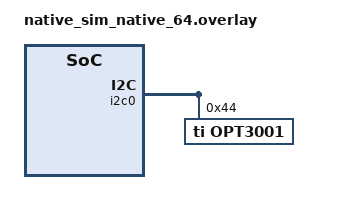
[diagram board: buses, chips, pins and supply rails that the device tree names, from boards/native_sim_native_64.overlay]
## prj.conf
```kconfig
# CONFIG_ZTEST=y
# CONFIG_SENSOR=y
# CONFIG_OPT3001=y

# CONFIG_EMUL=y
# CONFIG_I2C=y
# CONFIG_I2C_EMUL=y

# CONFIG_NATIVE_SIM=y
# CONFIG_NATIVE_SIM_SLOWDOWN=1
CONFIG_ZTEST=y
CONFIG_SENSOR=y
CONFIG_I2C=y
CONFIG_I2C_EMUL=y
CONFIG_OPT3001=y
CONFIG_OPT3001_EMUL=y
# CONFIG_NATIVE_SIM=y
```

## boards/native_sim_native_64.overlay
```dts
/* 
 * SPDX-License-Identifier: Apache-2.0
 */

/* {
	aliases {
		accel = &bmi_i2c;
	};
};

&i2c0 {
	   bmi_i2c: opt3001@44 {
		compatible = "ti,opt3001";
		reg = <0x44>;
	};
}; */

/* Attach OPT3001 to the existing native_sim I2C emulation controller */

&i2c0 {
    opt3001@44 {
        compatible = "ti,opt3001";
        reg = <0x44>;
    };
};
```

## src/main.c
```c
#include <zephyr/ztest.h>
#include <zephyr/device.h>
#include <zephyr/drivers/sensor.h>
#include <zephyr/drivers/i2c.h>
#include <zephyr/drivers/i2c_emul.h>
#include <zephyr/drivers/emul.h>
#include <zephyr/devicetree.h>
#include <zephyr/sys/printk.h>

#if !DT_NODE_HAS_STATUS(DT_INST(0, ti_opt3001), okay)
#error "OPT3001 not enabled in devicetree"
#endif

#define OPT3001_NODE DT_INST(0, ti_opt3001)
#define OPT3001_I2C_BUS DT_PARENT(OPT3001_NODE)
#define OPT3001_I2C_ADDR DT_REG_ADDR(OPT3001_NODE)

#define OPT3001_REG_RESULT  0x00
#define OPT3001_REG_CONFIG  0x01

/* ===================== Emulator private data ===================== */

struct opt3001_emul {
	const struct emul emul;
	uint16_t result_reg;
	uint16_t config_reg;
	uint8_t current_reg;
	bool fail_i2c;
};

/* ===================== I2C transfer handler ===================== */

static int opt3001_emul_transfer(
	const struct emul *emul,
	struct i2c_msg *msgs,
	int num_msgs,
	int addr)
{
	struct opt3001_emul *data = emul->data;

	if (data->fail_i2c) {
		return -EIO;
	}

	/* Write: register address */
	if (num_msgs == 1 && !(msgs[0].flags & I2C_MSG_READ)) {
		data->current_reg = msgs[0].buf[0];
		return 0;
	}

	/* Write register + Read data */
	if (num_msgs == 2 &&
	    !(msgs[0].flags & I2C_MSG_READ) &&
	    (msgs[1].flags & I2C_MSG_READ)) {

		uint16_t val = 0;

		data->current_reg = msgs[0].buf[0];

		if (data->current_reg == OPT3001_REG_RESULT) {
			val = data->result_reg;
		} else if (data->current_reg == OPT3001_REG_CONFIG) {
			val = data->config_reg;
		}

		if (msgs[1].len < 2) {
			return -EINVAL;
		}

		msgs[1].buf[0] = val >> 8;
		msgs[1].buf[1] = val & 0xff;
		return 0;
	}

	return -ENOTSUP;
}

/* ===================== Emulator instances ===================== */

const struct device device_name = {
	.name = "OPT3001",
};

static struct opt3001_emul opt3001_emul_data = {
	.emul = {
		.dev = &device_name,
		.data = &opt3001_emul_data,
	},
	.result_reg = 0,
	.config_reg = 0,
	.current_reg = 0,
	.fail_i2c = false,
};

static struct i2c_emul_api opt3001_emul_api = {
	.transfer = opt3001_emul_transfer,
};

static struct i2c_emul opt3001_i2c_emul = {
	.target = &opt3001_emul_data.emul,
	.addr = OPT3001_I2C_ADDR,
	.mock_api = &opt3001_emul_api,
};

/* ===================== Test fixture ===================== */

struct opt3001_fixture {
	const struct device *dev;
	struct opt3001_emul *emul;
};

static void *opt3001_setup(void)
{
	static struct opt3001_fixture fixture = {
		.dev = DEVICE_DT_GET(OPT3001_NODE),
		.emul = &opt3001_emul_data,
	};

	const struct device *i2c =
		DEVICE_DT_GET(OPT3001_I2C_BUS);

	zassert_true(device_is_ready(i2c), "I2C bus not ready");

	i2c_emul_register(i2c, &opt3001_i2c_emul);
		printk("This is a simple printk debug message2.\n");


	zassert_true(device_is_ready(fixture.dev),
		     "OPT3001 device not ready");

	return &fixture;
}

static void opt3001_before(void *f)
{
	printk("This is a simple printk debug message.\n");
	struct opt3001_fixture *fixture = f;

	fixture->emul->fail_i2c = false;
	fixture->emul->current_reg = 0;
}

/* ===================== Test suite ===================== */

ZTEST_SUITE(opt3001, NULL,
	    opt3001_setup,
	    opt3001_before,
	    NULL, NULL);

/* ===================== Tests ===================== */

ZTEST_F(opt3001, test_sample_fetch_i2c_fail)
{

	fixture->emul->fail_i2c = true;

	zassert_equal(-EIO,
		sensor_sample_fetch(fixture->dev));
}

ZTEST_F(opt3001, test_wrong_channel)
{
	struct sensor_value val;

	zassert_equal(-ENOTSUP,
		sensor_channel_get(fixture->dev,
				   SENSOR_CHAN_ACCEL_X, &val));
}

ZTEST_F(opt3001, test_lux_10)
{
	struct sensor_value val;

	/* EXP = 1, MANT = 500 → 10 lux */
	fixture->emul->result_reg = (1 << 12) | 500;

	zassert_equal(0,
		sensor_sample_fetch(fixture->dev));

	zassert_equal(0,
		sensor_channel_get(fixture->dev,
				   SENSOR_CHAN_LIGHT, &val));

	zassert_equal(10, val.val1);
	zassert_equal(0, val.val2);
}

ZTEST_F(opt3001, test_lux_fractional)
{
	struct sensor_value val;

	/* EXP = 0, MANT = 123 → 1.23 lux */
	fixture->emul->result_reg = 123;

	zassert_equal(0,
		sensor_sample_fetch(fixture->dev));

	zassert_equal(0,
		sensor_channel_get(fixture->dev,
				   SENSOR_CHAN_LIGHT, &val));

	zassert_equal(1, val.val1);
	zassert_equal(230000, val.val2);
}
```

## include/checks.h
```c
/*
 * Copyright 2025 Bhainsa
 *
 * SPDX-License-Identifier: Apache-2.0
 */

#ifndef TEST_DRIVERS_SENSOR_ACCEL_INCLUDE_CHECKS_H_
#define TEST_DRIVERS_SENSOR_ACCEL_INCLUDE_CHECKS_H_

#include <zephyr/drivers/i2c.h>

#include "opt3001.h"

static inline bool opt3001_i2c_is_touching_reg(struct i2c_msg *msgs, int num_msgs, int reg)
{
	__ASSERT_NO_MSG(num_msgs == 2);
	__ASSERT_NO_MSG(msgs[0].len == 1);

	uint8_t start_reg = msgs[0].buf[0];

	return (start_reg <= reg) && (reg < start_reg + msgs[1].len);
}

#endif /* TEST_DRIVERS_SENSOR_ACCEL_INCLUDE_CHECKS_H_ */
```

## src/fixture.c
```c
/*
 * Copyright 2025 Om Srivastava <srivastavaom97714@gmail.com>
 *
 * SPDX-License-Identifier: Apache-2.0
 */

// #include "fixture.h"

#include <zephyr/drivers/emul_sensor.h>
#include <zephyr/drivers/sensor.h>
#include <zephyr/ztest.h>
#include <zephyr/device.h>
#include <zephyr/drivers/emul.h>

struct opt3001_fixture {
	const struct device *dev_i2c;
	const struct emul *emul_i2c;
};

static void sensor_opt3001_setup_emulator(const struct device *dev, const struct emul *emulator)
{
	static struct {
		enum sensor_channel channel;
		q31_t value;
	} values[] = {
		{SENSOR_CHAN_LIGHT, 0},       {SENSOR_CHAN_LIGHT, 1 << 28},
		{SENSOR_CHAN_LIGHT, 2 << 28}, {SENSOR_CHAN_LIGHT, 3 << 28},
		{SENSOR_CHAN_LIGHT, 4 << 28},  {SENSOR_CHAN_LIGHT, 5 << 28},
	};
	static struct sensor_value scale;

	/* 4g */
	scale.val1 = 39;
	scale.val2 = 226600;
	zassert_ok(sensor_attr_set(dev, SENSOR_CHAN_LIGHT, SENSOR_ATTR_FULL_SCALE, &scale));

	/* 125 deg/s */
	scale.val1 = 2;
	scale.val2 = 181661;
	zassert_ok(sensor_attr_set(dev, SENSOR_CHAN_LIGHT, SENSOR_ATTR_FULL_SCALE, &scale));

	for (size_t i = 0; i < ARRAY_SIZE(values); ++i) {
		struct sensor_chan_spec chan_spec = {.chan_type = values[i].channel, .chan_idx = 0};

		zassert_ok(emul_sensor_backend_set_channel(emulator, chan_spec,
							   &values[i].value, 3));
	}
}

static void *opt3001_setup(void)
{
	static struct opt3001_fixture fixture = {
		.dev_i2c = DEVICE_DT_GET(DT_ALIAS(accel)),
		.emul_i2c = EMUL_DT_GET(DT_ALIAS(accel)),
	};

	sensor_opt3001_setup_emulator(fixture.dev_i2c, fixture.emul_i2c);

	return &fixture;
}

static void opt3001_before(void *f)
{
	struct opt3001_fixture *fixture = (struct opt3001_fixture *)f;

	zassert_true(device_is_ready(fixture->dev_i2c), "'%s' device is not ready",
		     fixture->dev_i2c->name);

	k_object_access_grant(fixture->dev_i2c, k_current_get());
}

ZTEST_SUITE(opt3001, NULL, opt3001_setup, opt3001_before, NULL, NULL);
```

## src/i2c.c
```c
/*
 * Copyright 2025 Om Srivastava <srivastavaom97714@gmail.com>
 *
 * SPDX-License-Identifier: Apache-2.0
 */

#include <zephyr/drivers/emul.h>
#include <zephyr/drivers/i2c.h>
#include <zephyr/drivers/emul_sensor.h>
#include <zephyr/drivers/i2c_emul.h>
#include <zephyr/drivers/sensor.h>
#include <zephyr/ztest.h>
#include <zephyr/device.h>
#include <zephyr/drivers/emul.h>

#include "checks.h"
// #include "opt3001.h"

static int mock_i2c_transfer_fail_reg_number = -1;

static int mock_i2c_transfer(const struct emul *target, struct i2c_msg *msgs, int num_msgs,
			     int addr)
{
	ARG_UNUSED(target);
	ARG_UNUSED(addr);
	if (mock_i2c_transfer_fail_reg_number >= 0 && i2c_is_read_op(&msgs[1]) &&
	    opt3001_i2c_is_touching_reg(msgs, num_msgs, mock_i2c_transfer_fail_reg_number)) {
		return -EIO;
	}
	return -ENOSYS;
}

ZTEST_USER_F(opt3001, test_opt3001_i2c_get_offset_fail_to_read_offset_acc)
{
	struct i2c_emul_api mock_bus_api;
	struct sensor_value value;

	fixture->emul_i2c->bus.i2c->mock_api = &mock_bus_api;
	mock_bus_api.transfer = mock_i2c_transfer;

	enum sensor_channel channels[] = {SENSOR_CHAN_LIGHT, SENSOR_CHAN_LIGHT};
	int fail_registers[] = {0x45, 0x46,
				0x47, 0x48,
				0x49, 0x4A,
				0x4B};

	for (int fail_reg_idx = 0; fail_reg_idx < ARRAY_SIZE(fail_registers); ++fail_reg_idx) {
		mock_i2c_transfer_fail_reg_number = fail_registers[fail_reg_idx];
		for (int chan_idx = 0; chan_idx < ARRAY_SIZE(channels); ++chan_idx) {
			zassert_equal(-EIO, sensor_attr_get(fixture->dev_i2c, channels[chan_idx],
							    SENSOR_ATTR_OFFSET, &value));
		}
	}
}
```

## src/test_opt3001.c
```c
#include <zephyr/ztest.h>
#include <zephyr/device.h>
#include <zephyr/drivers/sensor.h>
#include <zephyr/drivers/i2c_emul.h>
#include <zephyr/devicetree.h>
// #include <zephyr/drivers/emul.h>

#define OPT3001_NODE DT_INST(0, ti_opt3001)

struct opt3001_emul_data {
	uint16_t result;
	uint16_t config;
	uint8_t reg_ptr;
};

struct opt3001_fixture {
	const struct device *dev;
	struct opt3001_emul_data *emul;
};

#include <zephyr/drivers/emul.h>

#include <zephyr/drivers/emul.h>

// const struct emul *emul =
// 	EMUL_DT_GET(DT_INST(0, ti_opt3001));

// struct opt3001_emul_data *edata = emul->data;

static void *opt3001_setup(void)
{
  static struct opt3001_fixture fixture;

  fixture.dev = DEVICE_DT_GET(DT_INST(0, ti_opt3001));
  zassert_true(device_is_ready(fixture.dev),
                "OPT3001 device not ready");

  const struct emul *emul =
      EMUL_DT_GET(DT_INST(0, ti_opt3001));

  zassert_not_null(emul, "OPT3001 emulator not found");

  fixture.emul = emul->data;

  return &fixture;
}


ZTEST_SUITE(opt3001, NULL, opt3001_setup, NULL, NULL, NULL);

/* ================= Tests ================= */

ZTEST_F(opt3001, test_i2c_error_free)
{
	zassert_ok(sensor_sample_fetch(fixture->dev));
}

ZTEST_F(opt3001, test_lux_10)
{
	struct sensor_value val;

	/* EXP=1, MANT=500 → 10 lux */
	fixture->emul->result = (1 << 12) | 500;

	zassert_ok(sensor_sample_fetch(fixture->dev));
	zassert_ok(sensor_channel_get(fixture->dev,
				      SENSOR_CHAN_LIGHT, &val));

	zassert_equal(10, val.val1);
	zassert_equal(0, val.val2);
}

ZTEST_F(opt3001, test_lux_fractional)
{
	struct sensor_value val;

	/* EXP=0, MANT=123 → 1.23 lux */
	fixture->emul->result = 123;

	zassert_ok(sensor_sample_fetch(fixture->dev));
	zassert_ok(sensor_channel_get(fixture->dev,
				      SENSOR_CHAN_LIGHT, &val));

	zassert_equal(1, val.val1);
	zassert_equal(230000, val.val2);
}
```
